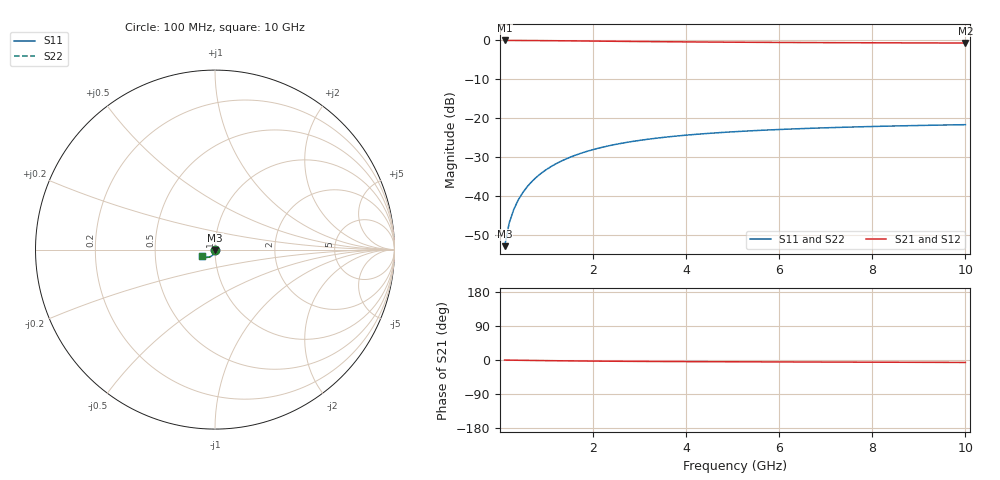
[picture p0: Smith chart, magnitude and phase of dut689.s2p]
! Touchstone file exported from HFSS 2024.1.0
!  File:  C:/UserFiles/LocalFiles/RDL_TSV_Batchsim/temp_TSV1_689_1779795941.aedt
!  Generated:  07:53:39 PM May 26, 2026
!  Design:  TSV1
!  Project:  temp_TSV1_689_1779795941
!  Setup:  Setup1
!  Solution:  Sweep
! Variables:
!  dtsv = 14.27um
!  hbump = 3um
!  htsv = 98.1um
!  lrdl = 252.1521522um
!  p = 40
!  p1 = 45um
!  t = 500um
!  trdl = 3um
!  wrdl = 24.89489489um
# GHz S MA R 50.000000
! Terminal data exported
! Port[1] = TSV22_T1
! Port[2] = TSV22_T2
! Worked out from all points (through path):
!   100 points, 100 MHz to 10 GHz, reference 50 ohm
!   highest |S21| = 0.00 dB at 100 MHz (marker M1); lowest = -0.7 dB at 10 GHz (marker M2)
!   lowest |S11| = -52.9 dB at 100 MHz (marker M3), VSWR 1.00, Z = 50 - j0.228 ohm
!   |S11| at or under -10 dB: start of sweep to end of sweep
!   |S22| runs from -52.9 to -21.6 dB; largest |S21 - S12| = 1e-14
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0.1  0.002276 -89.1  0.9998 -0.2  0.9998 -0.2  0.002276 -89.1
! Gamma 0 0 0 0
! Port Impedance 50 0 50 0
0.2  0.004552 -91.8  0.9996 -0.4  0.9996 -0.4  0.004552 -91.8
0.3  0.006826 -93.7  0.9993 -0.5  0.9993 -0.5  0.006826 -93.7
0.4  0.009088 -95.4  0.9988 -0.7  0.9988 -0.7  0.009088 -95.4
0.5  0.01133 -97.1  0.9983 -0.9  0.9983 -0.9  0.01133 -97.1
0.6  0.01354 -98.8  0.9976 -1.0  0.9976 -1.0  0.01354 -98.8
0.7  0.01572 -100.4  0.9969 -1.2  0.9969 -1.2  0.01572 -100.4
0.8  0.01786 -102.0  0.996 -1.3  0.996 -1.3  0.01786 -102.0
0.9  0.01996 -103.5  0.9951 -1.5  0.9951 -1.5  0.01996 -103.5
1.1  0.02401 -106.5  0.993 -1.8  0.993 -1.8  0.02401 -106.5
1.4  0.0297 -110.6  0.9895 -2.2  0.9895 -2.2  0.0297 -110.6
1.6  0.03321 -113.3  0.9869 -2.4  0.9869 -2.4  0.03321 -113.3
1.8  0.03651 -115.7  0.9843 -2.7  0.9843 -2.7  0.03651 -115.7
2.1  0.04104 -119.2  0.9803 -3.0  0.9803 -3.0  0.04104 -119.2
2.5  0.04636 -123.3  0.9751 -3.3  0.9751 -3.3  0.04636 -123.3
2.9  0.05096 -126.9  0.9701 -3.6  0.9701 -3.6  0.05096 -126.9
3.4  0.05585 -130.8  0.9643 -3.9  0.9643 -3.9  0.05585 -130.8
4.2  0.06213 -136.0  0.9564 -4.3  0.9564 -4.3  0.06213 -136.0
5.1  0.06756 -140.5  0.949 -4.7  0.949 -4.7  0.06756 -140.5
6.7  0.07447 -146.6  0.9392 -5.3  0.9392 -5.3  0.07447 -146.6
8.4  0.07945 -151.2  0.9318 -5.9  0.9318 -5.9  0.07945 -151.2
10  0.08281 -154.5  0.9268 -6.4  0.9268 -6.4  0.08281 -154.5
